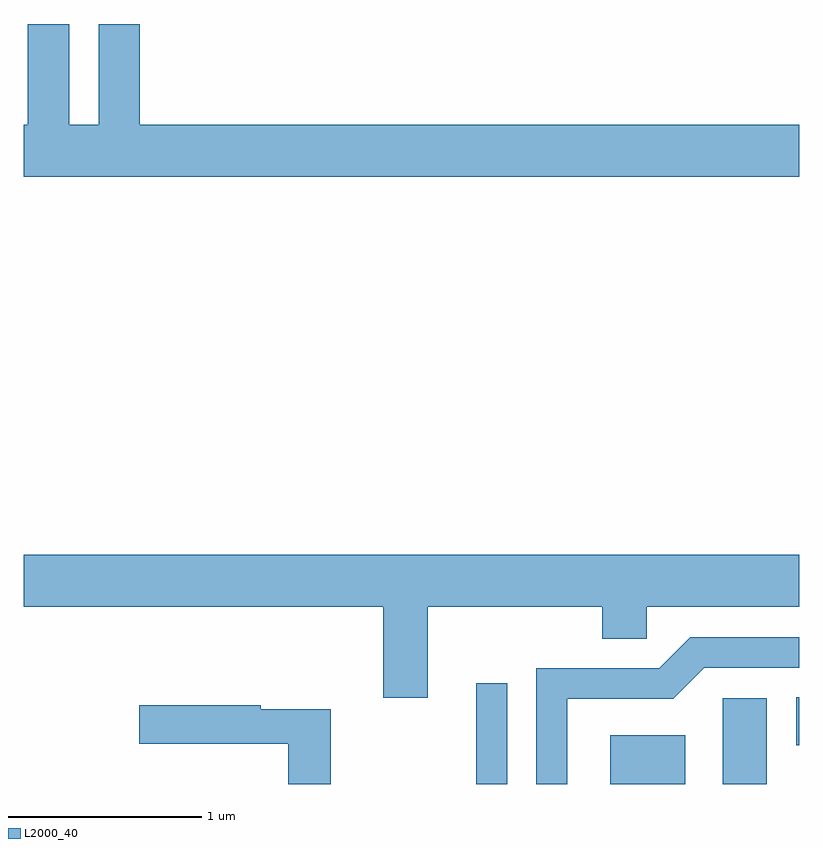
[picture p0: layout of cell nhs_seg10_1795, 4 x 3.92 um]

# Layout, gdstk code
import gdstk
lib = gdstk.Library(unit=1e-6, precision=1e-09)
def R(c, l, rs):  # rectangles x0, y0, x1, y1
    for r in rs: c.add(gdstk.rectangle(r[:2], r[2:], *l))
def P(c, l, *ps):  # polygons
    for p in ps: c.add(gdstk.Polygon(p, *l))
L2000_40 = (2000, 40)

nhs_seg10_1795 = lib.new_cell('nhs_seg10_1795')
R(nhs_seg10_1795, L2000_40, [(239.946,2148.522,240.104,2149.043), (240.636,2148.522,241.024,2148.774), (241.216,2148.522,241.444,2148.964), (241.596,2148.721,241.611,2148.969)])
P(nhs_seg10_1795, L2000_40, [(241.611,2151.924),(238.209,2151.924),(238.209,2152.444),(237.996,2152.444),(237.996,2151.924),(237.844,2151.924),(237.844,2152.444),(237.631,2152.444),(237.631,2151.924),(237.611,2151.924),(237.611,2151.656),(241.611,2151.656)],
  [(239.694,2149.436),(240.596,2149.436),(240.596,2149.271),(240.824,2149.271),(240.824,2149.436),(241.611,2149.436),(241.611,2149.704),(237.611,2149.704),(237.611,2149.436),(239.466,2149.436),(239.466,2148.966),(239.694,2148.966)],
  [(240.414,2148.961),(240.962,2148.961),(241.122,2149.121),(241.611,2149.121),(241.611,2149.279),(241.049,2149.279),(240.889,2149.119),(240.256,2149.119),(240.256,2148.522),(240.414,2148.522)],
  [(239.194,2148.909),(238.834,2148.909),(238.834,2148.929),(238.206,2148.929),(238.206,2148.731),(238.976,2148.731),(238.976,2148.522),(239.194,2148.522)])

lib.write_gds('nhs_seg10_1795.gds')
